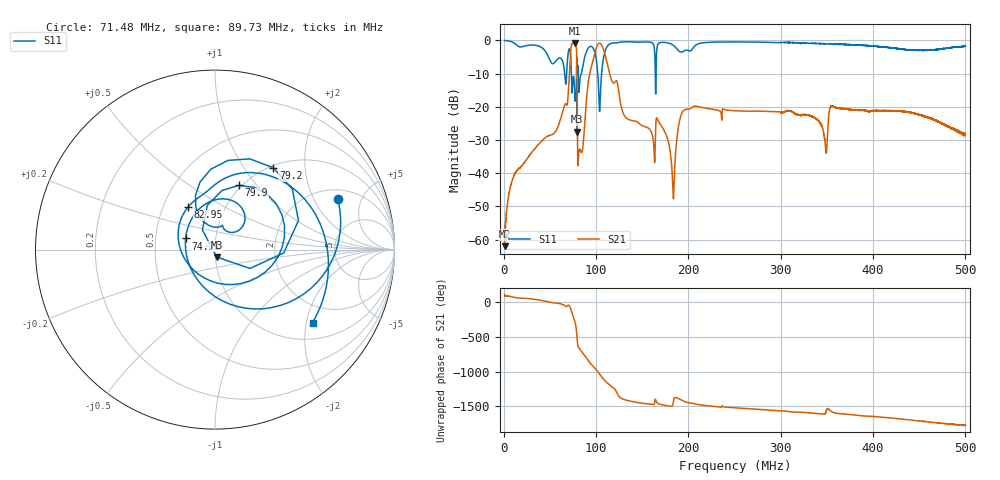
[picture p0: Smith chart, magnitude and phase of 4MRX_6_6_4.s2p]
! NanoVNA-App
! Date: 2026-08-19 17:57:46
! Start: 1MHz Stop: 500MHz Points: 6401
! S-Parameter data: F S11 S21 S12 S22
# Hz S RI R 50
!  Frequency  S11_Real  S11_Imag  S21_Real  S21_Imag  S12_Real  S12_Imag  S22_Real  S22_Imag
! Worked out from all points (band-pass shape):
!   6401 points, 1 MHz to 500 MHz, reference 50 ohm
!   highest |S21| = -0.82 dB at 76.94 MHz (marker M1); lowest = -62.0 dB at 1 MHz (marker M2)
!   |S21| within 3 dB of the highest: 72.44 MHz to 78.96 MHz (6.525 MHz wide, 8.62 % of centre); 98.72 MHz to 109.3 MHz (10.6 MHz wide, 10.2 % of centre)
!   lowest |S11| = -27.5 dB at 79.59 MHz (marker M3), VSWR 1.09, Z = 50.7 - j4.17 ohm
!   |S11| at or under -10 dB: 73.27 MHz to 78.81 MHz (5.533 MHz wide, 7.28 % of centre); 80.65 MHz to 84.01 MHz (3.363 MHz wide, 4.08 % of centre); 101.9 MHz to 106 MHz (4.158 MHz wide, 4 % of centre) (the widest 3 of 6)
!   S12 and S22 are empty: the file has one direction only
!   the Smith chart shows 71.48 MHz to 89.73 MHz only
!   S11 on the Smith chart (normalised r, x): 71.48 MHz: 2.53, +3.14; 74.21 MHz: 0.71, +0.09; 79.2 MHz: 1.04, +1.37; 79.9 MHz: 0.97, +0.82; 82.95 MHz: 0.67, +0.34; 89.73 MHz: 1.44, -2.18
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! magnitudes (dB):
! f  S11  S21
! 1 MHz  0.0  -62.0
! 10.75 MHz  -0.7  -41.1
! 57.29 MHz  -5.9  -26.9
! 71.48 MHz  -2.6  -7.9
! 74.21 MHz  -15.1  -0.9
! 76.94 MHz  -16.3  -0.8
! 79.2 MHz  -5.0  -6.8
! 79.59 MHz  -27.5  -17.3
! 79.9 MHz  -8.4  -30.8
! 82.95 MHz  -11.0  -33.0
! 84.19 MHz  -9.8  -33.8
! 89.73 MHz  -3.4  -17.5
! 104.2 MHz  -20.2  -0.8
! 111.9 MHz  -1.9  -6.8
! 131.8 MHz  -0.4  -23.1
! 167.4 MHz  -1.0  -24.2
! 183.4 MHz  -1.4  -46.3
! 195.1 MHz  -3.2  -21.1
! 250.5 MHz  -0.4  -21.2
! 333.7 MHz  -0.9  -23.0
! 416.9 MHz  -2.1  -21.2
! 500 MHz  -1.7  -28.5
